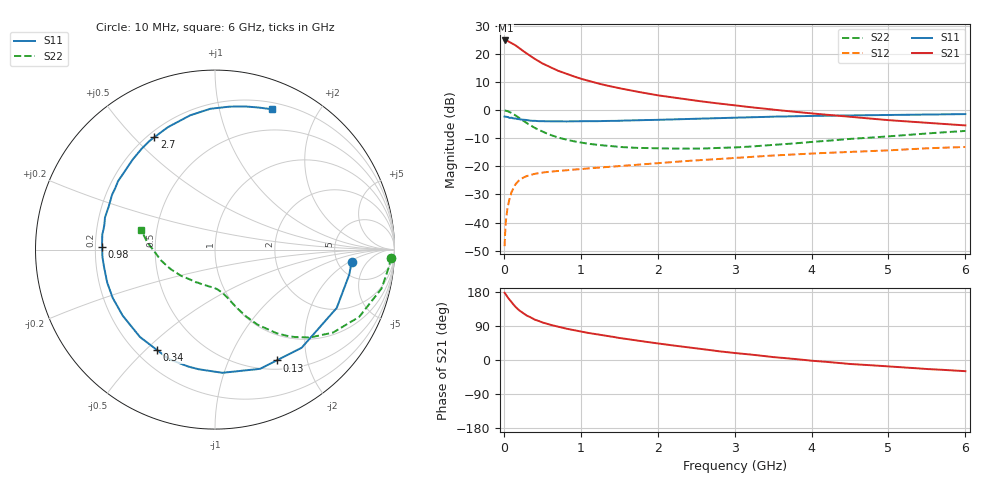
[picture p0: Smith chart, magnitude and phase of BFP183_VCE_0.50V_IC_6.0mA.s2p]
! Infineon Technologies  Discrete & RF Semiconductors
! BFP183
! VCE = 0.50V,  IC =  6.0 mA
! Common Emitter S-Parameters:  Jan 2016
# GHz  S  MA  R  50
!  f  S11  S21  S12  S22
! GHz  MAG  ANG  MAG  ANG  MAG  ANG  MAG  ANG
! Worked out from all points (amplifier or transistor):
!   210 points, 10 MHz to 6 GHz, reference 50 ohm
!   highest |S21| = 24.7 dB at 20 MHz (marker M1)
!   |S21| within 3 dB of that: start of sweep to 215.1 MHz
!   unconditionally stable (mu >= 1): 1.215 GHz to end of sweep
!   at 185 MHz: K = 0.21, MSG = 23.8 dB, |S12| = -25.4 dB
!   at 1.52 GHz: K = 1.14, MAG = 11.5 dB, |S12| = -19.9 dB
!   at 6 GHz: K = 1.15, MAG = 1.5 dB, |S12| = -13.1 dB
!   S11 on the Smith chart (normalised r, x): 10 MHz: 6.78, -2.17; 130 MHz: 0.62, -1.52; 340 MHz: 0.28, -0.54; 980 MHz: 0.23, +0.01; 2.7 GHz: 0.23, +0.57; 6 GHz: 0.27, +1.45
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0.01  0.7644 -5.0  17.09 177.3  0.0038 84.5  0.9795 -2.6
0.02  0.761 -10.5  17.17 174.6  0.0081 79.9  0.9753 -5.4
0.05  0.752 -25.6  16.81 165.3  0.0188 77.5  0.9525 -13.2
0.1  0.7295 -48.6  15.48 152.2  0.0346 65.7  0.8866 -25.0
0.13  0.7067 -60.9  14.59 145.3  0.0422 59.5  0.8339 -30.8
0.15  0.7102 -69.3  14.12 140.3  0.0475 56.5  0.804 -35.1
0.2  0.6876 -86.6  12.61 131.0  0.0564 50.3  0.7221 -42.7
0.26  0.6684 -102.9  10.94 122.1  0.0634 43.1  0.6326 -49.7
0.34  0.6463 -119.9  9.236 113.4  0.0695 37.7  0.5384 -56.1
0.4  0.6417 -130.7  8.114 106.7  0.0732 34.4  0.48 -60.5
0.5  0.6324 -144.4  6.723 99.2  0.0773 31.0  0.4124 -64.9
0.6  0.6303 -154.8  5.791 93.0  0.08 29.0  0.3624 -68.3
0.8  0.626 -170.8  4.448 83.1  0.0846 27.3  0.299 -73.3
0.98  0.6292 178.6  3.669 76.0  0.0885 26.6  0.2667 -76.8
1.02  0.6304 176.4  3.53 74.4  0.0894 26.5  0.261 -77.5
1.5  0.6418 155.8  2.437 58.1  0.1004 27.2  0.2202 -87.0
2.02  0.6688 137.5  1.805 43.2  0.1142 27.1  0.208 -98.9
2.7  0.7116 118.4  1.349 25.7  0.1326 25.4  0.2092 -118.9
3.1  0.7348 108.8  1.163 16.5  0.1436 23.8  0.2192 -131.5
4.1  0.787 90.3  0.845 -3.4  0.1706 18.3  0.2762 -159.0
5.1  0.8173 77.0  0.645 -18.3  0.1947 12.7  0.3476 179.6
6  0.8444 67.8  0.531 -29.5  0.2202 5.6  0.4239 165.2
